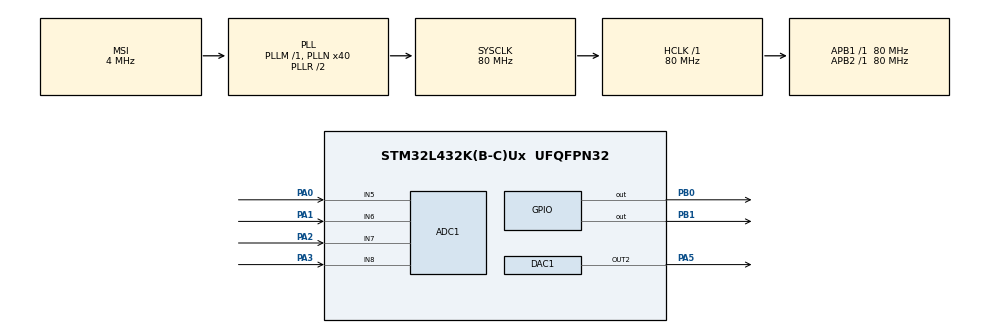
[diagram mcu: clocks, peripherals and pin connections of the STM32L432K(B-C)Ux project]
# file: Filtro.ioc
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ADC1.Channel-1\#ChannelRegularConversion=ADC_CHANNEL_5
ADC1.Channel-3\#ChannelRegularConversion=ADC_CHANNEL_6
ADC1.Channel-4\#ChannelRegularConversion=ADC_CHANNEL_7
ADC1.Channel-5\#ChannelRegularConversion=ADC_CHANNEL_8
ADC1.ContinuousConvMode=DISABLE
ADC1.DMAContinuousRequests=ENABLE
ADC1.EOCSelection=ADC_EOC_SEQ_CONV
ADC1.ExternalTrigConv=ADC_EXTERNALTRIG_T1_TRGO
ADC1.ExternalTrigConvEdge=ADC_EXTERNALTRIGCONVEDGE_FALLING
ADC1.NbrOfConversion=4
ADC1.NbrOfConversionFlag=1
ADC1.OffsetNumber-3\#ChannelRegularConversion=ADC_OFFSET_NONE
ADC1.OffsetNumber-4\#ChannelRegularConversion=ADC_OFFSET_NONE
ADC1.OffsetNumber-5\#ChannelRegularConversion=ADC_OFFSET_NONE
ADC1.Rank-3\#ChannelRegularConversion=2
ADC1.Rank-4\#ChannelRegularConversion=3
ADC1.Rank-5\#ChannelRegularConversion=4
ADC1.SamplingTime-3\#ChannelRegularConversion=ADC_SAMPLETIME_2CYCLES_5
ADC1.SamplingTime-4\#ChannelRegularConversion=ADC_SAMPLETIME_2CYCLES_5
ADC1.SamplingTime-5\#ChannelRegularConversion=ADC_SAMPLETIME_2CYCLES_5
ADC1.master=1
DAC1.DAC_Channel-DAC_OUT2=DAC_CHANNEL_2
DAC1.DAC_Trigger-DAC_OUT2=DAC_TRIGGER_NONE
Dma.ADC1.0.Direction=DMA_PERIPH_TO_MEMORY
Dma.ADC1.0.Instance=DMA1_Channel1
Dma.ADC1.0.MemDataAlignment=DMA_MDATAALIGN_HALFWORD
Dma.ADC1.0.MemInc=DMA_MINC_ENABLE
Dma.ADC1.0.Mode=DMA_CIRCULAR
Dma.ADC1.0.PeriphDataAlignment=DMA_PDATAALIGN_HALFWORD
Dma.ADC1.0.PeriphInc=DMA_PINC_DISABLE
Dma.ADC1.0.Priority=DMA_PRIORITY_LOW
Dma.Request0=ADC1
Mcu.Family=STM32L4
Mcu.Name=STM32L432K(B-C)Ux
Mcu.Package=UFQFPN32
NVIC.DMA1_Channel1_IRQn=true\:0\:0\:true\:false\:true\:false\:true\:true
NVIC.PriorityGroup=NVIC_PRIORITYGROUP_4
NVIC.TIM1_UP_TIM16_IRQn=true\:0\:0\:false\:false\:true\:true\:true\:true
PA0.Signal=ADCx_IN5
PA1.Signal=ADCx_IN6
PA2.Signal=ADCx_IN7
PA3.Signal=ADCx_IN8
PA5.Signal=COMP_DAC12_group
PB0.Signal=GPIO_Output
PB1.Signal=GPIO_Output
PC14-OSC32_IN\ (PC14).Mode=LSE-External-Oscillator
PC14-OSC32_IN\ (PC14).Signal=RCC_OSC32_IN
PC15-OSC32_OUT\ (PC15).Mode=LSE-External-Oscillator
PC15-OSC32_OUT\ (PC15).Signal=RCC_OSC32_OUT
ProjectManager.HeapSize=0x200
ProjectManager.StackSize=0x400
ProjectManager.TargetToolchain=STM32CubeIDE
RCC.ADCFreq_Value=32000000
RCC.AHBFreq_Value=80000000
RCC.APB1Freq_Value=80000000
RCC.APB1TimFreq_Value=80000000
RCC.APB2Freq_Value=80000000
RCC.APB2TimFreq_Value=80000000
RCC.CortexFreq_Value=80000000
RCC.HCLKFreq_Value=80000000
RCC.HSE_VALUE=8000000
RCC.HSI48_VALUE=48000000
RCC.HSI_VALUE=16000000
RCC.MSI_VALUE=4000000
RCC.PLLN=40
RCC.PLLSAI1N=16
RCC.SYSCLKFreq_VALUE=80000000
RCC.SYSCLKSource=RCC_SYSCLKSOURCE_PLLCLK
RCC.USBFreq_Value=32000000
RCC.VCOOutputFreq_Value=160000000
SH.ADCx_IN5.0=ADC1_IN5,IN5-Single-Ended
SH.ADCx_IN6.0=ADC1_IN6,IN6-Single-Ended
SH.ADCx_IN7.0=ADC1_IN7,IN7-Single-Ended
SH.ADCx_IN8.0=ADC1_IN8,IN8-Single-Ended
SH.COMP_DAC12_group.0=DAC1_OUT2,DAC_OUT2
TIM1.Period=10-1
TIM1.Prescaler=80-1
TIM1.TIM_MasterOutputTrigger=TIM_TRGO_UPDATE
VP_TIM1_VS_ClockSourceINT.Mode=Internal
board=custom

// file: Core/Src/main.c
/* USER CODE BEGIN Header */
/**
  ******************************************************************************
  * @file           : main.c
  * @brief          : Main program body
  ******************************************************************************
  * @attention
  *
  * Copyright (c) 2024 STMicroelectronics.
  * All rights reserved.
  *
  * This software is licensed under terms that can be found in the LICENSE file
  * in the root directory of this software component.
  * If no LICENSE file comes with this software, it is provided AS-IS.
  *
  ******************************************************************************
  */
/* USER CODE END Header */
#include "main.h"

/* USER CODE BEGIN Includes */
#include "math.h"
/* USER CODE END Includes */

ADC_HandleTypeDef hadc1;
DMA_HandleTypeDef hdma_adc1;

DAC_HandleTypeDef hdac1;

TIM_HandleTypeDef htim1;

/* USER CODE BEGIN PV */

uint16_t adcValues[4];

uint16_t fc_a = 0;
uint16_t k_a = 0;

float fc = 0.0;
float k = 0.0;
float fs = 100000.0;
float wcd = 0.0;
float wca = 0.0;
float g = 0.0;
float ys = 0.0;
int flag_filtro = 1;
float in = 0.0;
float yd[5];

float c1 = 0;
float c2 = 0;
float c3 = 0;
float c4 = 0;
float cp = 0;

float c_adc = 3.3/4095;

/* USER CODE END PV */

void SystemClock_Config(void);
static void MX_GPIO_Init(void);
static void MX_DMA_Init(void);
static void MX_ADC1_Init(void);
static void MX_DAC1_Init(void);
static void MX_TIM1_Init(void);

int main(void)
{

  /* MCU Configuration--------------------------------------------------------*/

  /* Reset of all peripherals, Initializes the Flash interface and the Systick. */
  HAL_Init();

  /* Configure the system clock */
  SystemClock_Config();

  /* Initialize all configured peripherals */
  MX_GPIO_Init();
  MX_DMA_Init();
  MX_ADC1_Init();
  MX_DAC1_Init();
  MX_TIM1_Init();
  /* USER CODE BEGIN 2 */

  	HAL_DAC_Start(&hdac1, DAC_CHANNEL_2);
  	HAL_TIM_Base_Start_IT(&htim1);
  	HAL_ADC_Start_DMA(&hadc1, (uint32_t*)adcValues, 4);

  /* USER CODE END 2 */

  /* Infinite loop */
  while (1)
  {

    /* USER CODE BEGIN 3 */

	  if(flag_filtro == 1)
	  {

		  if(fabs(fc_a - adcValues[0]) > 25 || fabs(k_a -adcValues[1]) > 25)
		  {

			  HAL_DAC_SetValue(&hdac1, DAC_CHANNEL_2, DAC_ALIGN_12B_R, 0.0);

			  fc = adcValues[0]*(20000.0/4095);

			  if(fc < 20.0)
			  {
				  fc = 20.0;
			  }

			  fc_a = adcValues[0];
			  k = adcValues[1]*(3.99/4095);
			  k_a = adcValues[1];

			  wcd = 2*M_PI*fc; //2 us
			  //wca = 2*fs*tan(((1/fs)/2)*wcd); //40 us
			  wca = wcd;
			  g = 1 - exp(-wca/fs); //40 us

			  c1 = 4*(g-1)+(k/2)*pow(g,4);
			  c2 = 6*pow((g-1),2)+(k/2)*pow(g,4);
			  c3 = 4*pow((g-1),3);
			  c4 = pow((g-1),4);
			  cp = pow(g,4);
			  in = adcValues[3]*(3.3/4095);
		  }

		  if ( cp != 0.0)
		  {
			  flag_filtro = 0;
		  }
		 // HAL_GPIO_WritePin(GPIOB, GPIO_PIN_1, GPIO_PIN_RESET);
	  }
  }
  /* USER CODE END 3 */
}

void SystemClock_Config(void)
{
  RCC_OscInitTypeDef RCC_OscInitStruct = {0};
  RCC_ClkInitTypeDef RCC_ClkInitStruct = {0};

  /** Configure the main internal regulator output voltage
  */
  if (HAL_PWREx_ControlVoltageScaling(PWR_REGULATOR_VOLTAGE_SCALE1) != HAL_OK)
  {
    Error_Handler();
  }

  /** Configure LSE Drive Capability
  */
  HAL_PWR_EnableBkUpAccess();
  __HAL_RCC_LSEDRIVE_CONFIG(RCC_LSEDRIVE_LOW);

  /** Initializes the RCC Oscillators according to the specified parameters
  * in the RCC_OscInitTypeDef structure.
  */
  RCC_OscInitStruct.OscillatorType = RCC_OSCILLATORTYPE_LSE|RCC_OSCILLATORTYPE_MSI;
  RCC_OscInitStruct.LSEState = RCC_LSE_ON;
  RCC_OscInitStruct.MSIState = RCC_MSI_ON;
  RCC_OscInitStruct.MSICalibrationValue = 0;
  RCC_OscInitStruct.MSIClockRange = RCC_MSIRANGE_6;
  RCC_OscInitStruct.PLL.PLLState = RCC_PLL_ON;
  RCC_OscInitStruct.PLL.PLLSource = RCC_PLLSOURCE_MSI;
  RCC_OscInitStruct.PLL.PLLM = 1;
  RCC_OscInitStruct.PLL.PLLN = 40;
  RCC_OscInitStruct.PLL.PLLP = RCC_PLLP_DIV7;
  RCC_OscInitStruct.PLL.PLLQ = RCC_PLLQ_DIV2;
  RCC_OscInitStruct.PLL.PLLR = RCC_PLLR_DIV2;
  if (HAL_RCC_OscConfig(&RCC_OscInitStruct) != HAL_OK)
  {
    Error_Handler();
  }

  /** Initializes the CPU, AHB and APB buses clocks
  */
  RCC_ClkInitStruct.ClockType = RCC_CLOCKTYPE_HCLK|RCC_CLOCKTYPE_SYSCLK
                              |RCC_CLOCKTYPE_PCLK1|RCC_CLOCKTYPE_PCLK2;
  RCC_ClkInitStruct.SYSCLKSource = RCC_SYSCLKSOURCE_PLLCLK;
  RCC_ClkInitStruct.AHBCLKDivider = RCC_SYSCLK_DIV1;
  RCC_ClkInitStruct.APB1CLKDivider = RCC_HCLK_DIV1;
  RCC_ClkInitStruct.APB2CLKDivider = RCC_HCLK_DIV1;

  if (HAL_RCC_ClockConfig(&RCC_ClkInitStruct, FLASH_LATENCY_4) != HAL_OK)
  {
    Error_Handler();
  }

  /** Enable MSI Auto calibration
  */
  HAL_RCCEx_EnableMSIPLLMode();
}

static void MX_ADC1_Init(void)
{

  ADC_ChannelConfTypeDef sConfig = {0};

  /** Common config
  */
  hadc1.Instance = ADC1;
  hadc1.Init.ClockPrescaler = ADC_CLOCK_ASYNC_DIV1;
  hadc1.Init.Resolution = ADC_RESOLUTION_12B;
  hadc1.Init.DataAlign = ADC_DATAALIGN_RIGHT;
  hadc1.Init.ScanConvMode = ADC_SCAN_ENABLE;
  hadc1.Init.EOCSelection = ADC_EOC_SEQ_CONV;
  hadc1.Init.LowPowerAutoWait = DISABLE;
  hadc1.Init.ContinuousConvMode = DISABLE;
  hadc1.Init.NbrOfConversion = 4;
  hadc1.Init.DiscontinuousConvMode = DISABLE;
  hadc1.Init.ExternalTrigConv = ADC_EXTERNALTRIG_T1_TRGO;
  hadc1.Init.ExternalTrigConvEdge = ADC_EXTERNALTRIGCONVEDGE_FALLING;
  hadc1.Init.DMAContinuousRequests = ENABLE;
  hadc1.Init.Overrun = ADC_OVR_DATA_PRESERVED;
  hadc1.Init.OversamplingMode = DISABLE;
  if (HAL_ADC_Init(&hadc1) != HAL_OK)
  {
    Error_Handler();
  }

  /** Configure Regular Channel
  */
  sConfig.Channel = ADC_CHANNEL_5;
  sConfig.Rank = ADC_REGULAR_RANK_1;
  sConfig.SamplingTime = ADC_SAMPLETIME_2CYCLES_5;
  sConfig.SingleDiff = ADC_SINGLE_ENDED;
  sConfig.OffsetNumber = ADC_OFFSET_NONE;
  sConfig.Offset = 0;
  if (HAL_ADC_ConfigChannel(&hadc1, &sConfig) != HAL_OK)
  {
    Error_Handler();
  }

  /** Configure Regular Channel
  */
  sConfig.Channel = ADC_CHANNEL_6;
  sConfig.Rank = ADC_REGULAR_RANK_2;
  if (HAL_ADC_ConfigChannel(&hadc1, &sConfig) != HAL_OK)
  {
    Error_Handler();
  }

  /** Configure Regular Channel
  */
  sConfig.Channel = ADC_CHANNEL_7;
  sConfig.Rank = ADC_REGULAR_RANK_3;
  if (HAL_ADC_ConfigChannel(&hadc1, &sConfig) != HAL_OK)
  {
    Error_Handler();
  }

  /** Configure Regular Channel
  */
  sConfig.Channel = ADC_CHANNEL_8;
  sConfig.Rank = ADC_REGULAR_RANK_4;
  if (HAL_ADC_ConfigChannel(&hadc1, &sConfig) != HAL_OK)
  {
    Error_Handler();
  }

}

static void MX_DAC1_Init(void)
{

  DAC_ChannelConfTypeDef sConfig = {0};

  /** DAC Initialization
  */
  hdac1.Instance = DAC1;
  if (HAL_DAC_Init(&hdac1) != HAL_OK)
  {
    Error_Handler();
  }

  /** DAC channel OUT2 config
  */
  sConfig.DAC_SampleAndHold = DAC_SAMPLEANDHOLD_DISABLE;
  sConfig.DAC_Trigger = DAC_TRIGGER_NONE;
  sConfig.DAC_OutputBuffer = DAC_OUTPUTBUFFER_ENABLE;
  sConfig.DAC_ConnectOnChipPeripheral = DAC_CHIPCONNECT_DISABLE;
  sConfig.DAC_UserTrimming = DAC_TRIMMING_FACTORY;
  if (HAL_DAC_ConfigChannel(&hdac1, &sConfig, DAC_CHANNEL_2) != HAL_OK)
  {
    Error_Handler();
  }

}

static void MX_TIM1_Init(void)
{

  TIM_ClockConfigTypeDef sClockSourceConfig = {0};
  TIM_MasterConfigTypeDef sMasterConfig = {0};

  htim1.Instance = TIM1;
  htim1.Init.Prescaler = 80-1;
  htim1.Init.CounterMode = TIM_COUNTERMODE_UP;
  htim1.Init.Period = 10-1;
  htim1.Init.ClockDivision = TIM_CLOCKDIVISION_DIV1;
  htim1.Init.RepetitionCounter = 0;
  htim1.Init.AutoReloadPreload = TIM_AUTORELOAD_PRELOAD_DISABLE;
  if (HAL_TIM_Base_Init(&htim1) != HAL_OK)
  {
    Error_Handler();
  }
  sClockSourceConfig.ClockSource = TIM_CLOCKSOURCE_INTERNAL;
  if (HAL_TIM_ConfigClockSource(&htim1, &sClockSourceConfig) != HAL_OK)
  {
    Error_Handler();
  }
  sMasterConfig.MasterOutputTrigger = TIM_TRGO_UPDATE;
  sMasterConfig.MasterOutputTrigger2 = TIM_TRGO2_RESET;
  sMasterConfig.MasterSlaveMode = TIM_MASTERSLAVEMODE_DISABLE;
  if (HAL_TIMEx_MasterConfigSynchronization(&htim1, &sMasterConfig) != HAL_OK)
  {
    Error_Handler();
  }

}

static void MX_DMA_Init(void)
{

  /* DMA controller clock enable */
  __HAL_RCC_DMA1_CLK_ENABLE();

  /* DMA interrupt init */
  /* DMA1_Channel1_IRQn interrupt configuration */
  HAL_NVIC_SetPriority(DMA1_Channel1_IRQn, 0, 0);
  HAL_NVIC_EnableIRQ(DMA1_Channel1_IRQn);

}

static void MX_GPIO_Init(void)
{
  GPIO_InitTypeDef GPIO_InitStruct = {0};

  /* GPIO Ports Clock Enable */
  __HAL_RCC_GPIOC_CLK_ENABLE();
  __HAL_RCC_GPIOA_CLK_ENABLE();
  __HAL_RCC_GPIOB_CLK_ENABLE();

  /*Configure GPIO pin Output Level */
  HAL_GPIO_WritePin(GPIOB, GPIO_PIN_0|GPIO_PIN_1, GPIO_PIN_RESET);

  /*Configure GPIO pins : PB0 PB1 */
  GPIO_InitStruct.Pin = GPIO_PIN_0|GPIO_PIN_1;
  GPIO_InitStruct.Mode = GPIO_MODE_OUTPUT_PP;
  GPIO_InitStruct.Pull = GPIO_NOPULL;
  GPIO_InitStruct.Speed = GPIO_SPEED_FREQ_LOW;
  HAL_GPIO_Init(GPIOB, &GPIO_InitStruct);

}

/* USER CODE BEGIN 4 */

/*void HAL_TIM_PeriodElapsedCallback(TIM_HandleTypeDef *htim)
{
}*/

void HAL_ADC_ConvCpltCallback(ADC_HandleTypeDef* hadc)
{

	HAL_GPIO_WritePin(GPIOB, GPIO_PIN_1, GPIO_PIN_SET);
	yd[0] = in*cp - c1 * yd[1] - c2*yd[2] - yd[3]*c3 - yd[4]*c4 ;

	  ys = yd[0] * (1+k);

	  if(ys < 0.0)
	  {
		  ys = 0.0;
	  }
	  else if(ys > 3.3)
	  {
		  ys = 3.3;
	  }

	  if (!isnan(yd[0]))
	  {
		  for(int i = 4; i > 0; i--)
		  {
			  yd[i] = yd[i-1];
		  }
	  }
	  else
	  {
		  yd[0] = 0.0;
		  yd[1] = 0.0;
		  yd[2] = 0.0;
		  yd[3] = 0.0;
		  yd[4] = 0.0;
	  }

	  HAL_DAC_SetValue(&hdac1, DAC_CHANNEL_2, DAC_ALIGN_12B_R, ys/c_adc);

	  in = adcValues[3]*c_adc;

	  HAL_GPIO_WritePin(GPIOB, GPIO_PIN_1, GPIO_PIN_RESET);
	//flag_filtro = 1;
}

/* USER CODE END 4 */

void Error_Handler(void)
{
  __disable_irq();
  while (1)
  {
  }
}
